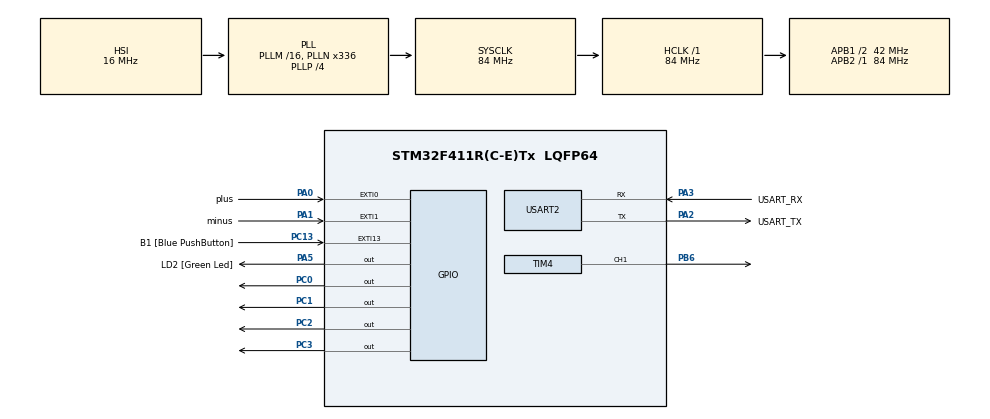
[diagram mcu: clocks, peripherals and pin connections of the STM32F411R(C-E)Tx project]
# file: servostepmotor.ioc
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FREERTOS.Tasks01=motorTask,0,128,StartDefaultTask,Default,NULL,Dynamic,NULL,NULL;myTask02,-3,128,StartTask02,Default,NULL,Dynamic,NULL,NULL;myTask03,-3,128,StartTask03,Default,NULL,Dynamic,NULL,NULL
FREERTOS.configUSE_NEWLIB_REENTRANT=1
Mcu.Family=STM32F4
Mcu.Name=STM32F411R(C-E)Tx
Mcu.Package=LQFP64
NVIC.EXTI0_IRQn=true\:5\:0\:false\:false\:true\:true\:true\:true\:true
NVIC.EXTI1_IRQn=true\:5\:0\:false\:false\:true\:true\:true\:true\:true
NVIC.PriorityGroup=NVIC_PRIORITYGROUP_4
NVIC.TIM3_IRQn=true\:15\:0\:false\:false\:true\:false\:false\:true\:true
NVIC.TIM4_IRQn=true\:5\:0\:false\:false\:true\:true\:true\:true\:true
NVIC.TimeBase=TIM3_IRQn
NVIC.TimeBaseIP=TIM3
PA0-WKUP.GPIO_Label=plus
PA0-WKUP.GPIO_ModeDefaultEXTI=GPIO_MODE_IT_RISING
PA0-WKUP.GPIO_PuPd=GPIO_PULLUP
PA0-WKUP.Signal=GPXTI0
PA1.GPIO_Label=minus
PA1.GPIO_ModeDefaultEXTI=GPIO_MODE_IT_RISING
PA1.GPIO_PuPd=GPIO_PULLUP
PA1.Signal=GPXTI1
PA13.GPIO_Label=TMS
PA13.Mode=Serial_Wire
PA13.Signal=SYS_JTMS-SWDIO
PA14.GPIO_Label=TCK
PA14.Mode=Serial_Wire
PA14.Signal=SYS_JTCK-SWCLK
PA2.GPIO_Label=USART_TX
PA2.Mode=Asynchronous
PA2.Signal=USART2_TX
PA3.GPIO_Label=USART_RX
PA3.Mode=Asynchronous
PA3.Signal=USART2_RX
PA5.GPIO_Label=LD2 [Green Led]
PA5.Signal=GPIO_Output
PB3.GPIO_Label=SWO
PB3.Signal=SYS_JTDO-SWO
PB6.Signal=S_TIM4_CH1
PC0.Signal=GPIO_Output
PC1.Signal=GPIO_Output
PC13-ANTI_TAMP.GPIO_Label=B1 [Blue PushButton]
PC13-ANTI_TAMP.GPIO_ModeDefaultEXTI=GPIO_MODE_IT_FALLING
PC13-ANTI_TAMP.Signal=GPXTI13
PC14-OSC32_IN.Mode=LSE-External-Oscillator
PC14-OSC32_IN.Signal=RCC_OSC32_IN
PC15-OSC32_OUT.Mode=LSE-External-Oscillator
PC15-OSC32_OUT.Signal=RCC_OSC32_OUT
PC2.Signal=GPIO_Output
PC3.Signal=GPIO_Output
PH0\ -\ OSC_IN.Mode=HSE-External-Clock-Source
PH0\ -\ OSC_IN.Signal=RCC_OSC_IN
PH1\ -\ OSC_OUT.Mode=HSE-External-Clock-Source
PH1\ -\ OSC_OUT.Signal=RCC_OSC_OUT
ProjectManager.HeapSize=0x200
ProjectManager.StackSize=0x400
ProjectManager.TargetToolchain=STM32CubeIDE
RCC.48MHZClocksFreq_Value=84000000
RCC.AHBFreq_Value=84000000
RCC.APB1CLKDivider=RCC_HCLK_DIV2
RCC.APB1Freq_Value=42000000
RCC.APB1TimFreq_Value=84000000
RCC.APB2Freq_Value=84000000
RCC.APB2TimFreq_Value=84000000
RCC.CortexFreq_Value=84000000
RCC.FLatency-AdvancedSettings=FLASH_LATENCY_2
RCC.HCLKFreq_Value=84000000
RCC.HSE_VALUE=8000000
RCC.HSI_VALUE=16000000
RCC.PLLN=336
RCC.PLLP=RCC_PLLP_DIV4
RCC.SYSCLKFreq_VALUE=84000000
RCC.SYSCLKSource=RCC_SYSCLKSOURCE_PLLCLK
RCC.VCOOutputFreq_Value=336000000
SH.S_TIM4_CH1.0=TIM4_CH1,PWM Generation1 CH1
TIM4.Channel-PWM\ Generation1\ CH1=TIM_CHANNEL_1
TIM4.Period=20000-1
TIM4.Prescaler=84-1
TIM4.Pulse-PWM\ Generation1\ CH1=0
USART2.VirtualMode=VM_ASYNC
VP_FREERTOS_VS_CMSIS_V1.Mode=CMSIS_V1
VP_SYS_VS_tim3.Mode=TIM3
VP_TIM4_VS_ClockSourceINT.Mode=Internal
board=NUCLEO-F411RE

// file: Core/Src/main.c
/* USER CODE BEGIN Header */
/**
  ******************************************************************************
  * @file           : main.c
  * @brief          : Main program body
  ******************************************************************************
  * @attention
  *
  * Copyright (c) 2025 STMicroelectronics.
  * All rights reserved.
  *
  * This software is licensed under terms that can be found in the LICENSE file
  * in the root directory of this software component.
  * If no LICENSE file comes with this software, it is provided AS-IS.
  *
  ******************************************************************************
  */
/* USER CODE END Header */
#include "main.h"
#include "cmsis_os.h"

TIM_HandleTypeDef htim4;

UART_HandleTypeDef huart2;

osThreadId motorTaskHandle;
osThreadId myTask02Handle;
osThreadId myTask03Handle;
/* USER CODE BEGIN PV */
int key = 0;
typedef enum {
    MOTOR_STOP,
    MOTOR_FORWARD,
    MOTOR_BACKWARD
} MotorCommand_t;

volatile int motorFlag = 1;
volatile MotorCommand_t motorCommand = MOTOR_STOP;
volatile int servoDone = 1;
/* USER CODE END PV */

void SystemClock_Config(void);
static void MX_GPIO_Init(void);
static void MX_USART2_UART_Init(void);
static void MX_TIM4_Init(void);
void StartDefaultTask(void const * argument);
void StartTask02(void const * argument);
void StartTask03(void const * argument);

/* USER CODE BEGIN PFP */
void stepMotor(int step);
/* USER CODE END PFP */

int main(void)
{

  /* MCU Configuration--------------------------------------------------------*/

  /* Reset of all peripherals, Initializes the Flash interface and the Systick. */
  HAL_Init();

  /* Configure the system clock */
  SystemClock_Config();

  /* Initialize all configured peripherals */
  MX_GPIO_Init();
  MX_USART2_UART_Init();
  MX_TIM4_Init();
  /* USER CODE BEGIN 2 */
  if(HAL_TIM_Base_Start_IT(&htim4) != HAL_OK) //인터럽트 시작
  	Error_Handler();

  if(HAL_TIM_PWM_Start(&htim4, TIM_CHANNEL_1) != HAL_OK)
	Error_Handler();
  /* USER CODE END 2 */

  /* Create the thread(s) */
  /* definition and creation of motorTask */
  osThreadDef(motorTask, StartDefaultTask, osPriorityNormal, 0, 128);
  motorTaskHandle = osThreadCreate(osThread(motorTask), NULL);

  /* definition and creation of myTask02 */
  osThreadDef(myTask02, StartTask02, osPriorityIdle, 0, 128);
  myTask02Handle = osThreadCreate(osThread(myTask02), NULL);

  /* definition and creation of myTask03 */
  osThreadDef(myTask03, StartTask03, osPriorityIdle, 0, 128);
  myTask03Handle = osThreadCreate(osThread(myTask03), NULL);

  /* Start scheduler */
  osKernelStart();

  /* We should never get here as control is now taken by the scheduler */

  /* Infinite loop */
  while (1)
  {

  }
}

void SystemClock_Config(void)
{
  RCC_OscInitTypeDef RCC_OscInitStruct = {0};
  RCC_ClkInitTypeDef RCC_ClkInitStruct = {0};

  /** Configure the main internal regulator output voltage
  */
  __HAL_RCC_PWR_CLK_ENABLE();
  __HAL_PWR_VOLTAGESCALING_CONFIG(PWR_REGULATOR_VOLTAGE_SCALE1);

  /** Initializes the RCC Oscillators according to the specified parameters
  * in the RCC_OscInitTypeDef structure.
  */
  RCC_OscInitStruct.OscillatorType = RCC_OSCILLATORTYPE_HSI;
  RCC_OscInitStruct.HSIState = RCC_HSI_ON;
  RCC_OscInitStruct.HSICalibrationValue = RCC_HSICALIBRATION_DEFAULT;
  RCC_OscInitStruct.PLL.PLLState = RCC_PLL_ON;
  RCC_OscInitStruct.PLL.PLLSource = RCC_PLLSOURCE_HSI;
  RCC_OscInitStruct.PLL.PLLM = 16;
  RCC_OscInitStruct.PLL.PLLN = 336;
  RCC_OscInitStruct.PLL.PLLP = RCC_PLLP_DIV4;
  RCC_OscInitStruct.PLL.PLLQ = 4;
  if (HAL_RCC_OscConfig(&RCC_OscInitStruct) != HAL_OK)
  {
    Error_Handler();
  }

  /** Initializes the CPU, AHB and APB buses clocks
  */
  RCC_ClkInitStruct.ClockType = RCC_CLOCKTYPE_HCLK|RCC_CLOCKTYPE_SYSCLK
                              |RCC_CLOCKTYPE_PCLK1|RCC_CLOCKTYPE_PCLK2;
  RCC_ClkInitStruct.SYSCLKSource = RCC_SYSCLKSOURCE_PLLCLK;
  RCC_ClkInitStruct.AHBCLKDivider = RCC_SYSCLK_DIV1;
  RCC_ClkInitStruct.APB1CLKDivider = RCC_HCLK_DIV2;
  RCC_ClkInitStruct.APB2CLKDivider = RCC_HCLK_DIV1;

  if (HAL_RCC_ClockConfig(&RCC_ClkInitStruct, FLASH_LATENCY_2) != HAL_OK)
  {
    Error_Handler();
  }
}

static void MX_TIM4_Init(void)
{

  TIM_ClockConfigTypeDef sClockSourceConfig = {0};
  TIM_MasterConfigTypeDef sMasterConfig = {0};
  TIM_OC_InitTypeDef sConfigOC = {0};

  htim4.Instance = TIM4;
  htim4.Init.Prescaler = 84-1;
  htim4.Init.CounterMode = TIM_COUNTERMODE_UP;
  htim4.Init.Period = 20000-1;
  htim4.Init.ClockDivision = TIM_CLOCKDIVISION_DIV1;
  htim4.Init.AutoReloadPreload = TIM_AUTORELOAD_PRELOAD_DISABLE;
  if (HAL_TIM_Base_Init(&htim4) != HAL_OK)
  {
    Error_Handler();
  }
  sClockSourceConfig.ClockSource = TIM_CLOCKSOURCE_INTERNAL;
  if (HAL_TIM_ConfigClockSource(&htim4, &sClockSourceConfig) != HAL_OK)
  {
    Error_Handler();
  }
  if (HAL_TIM_PWM_Init(&htim4) != HAL_OK)
  {
    Error_Handler();
  }
  sMasterConfig.MasterOutputTrigger = TIM_TRGO_RESET;
  sMasterConfig.MasterSlaveMode = TIM_MASTERSLAVEMODE_DISABLE;
  if (HAL_TIMEx_MasterConfigSynchronization(&htim4, &sMasterConfig) != HAL_OK)
  {
    Error_Handler();
  }
  sConfigOC.OCMode = TIM_OCMODE_PWM1;
  sConfigOC.Pulse = 0;
  sConfigOC.OCPolarity = TIM_OCPOLARITY_HIGH;
  sConfigOC.OCFastMode = TIM_OCFAST_DISABLE;
  if (HAL_TIM_PWM_ConfigChannel(&htim4, &sConfigOC, TIM_CHANNEL_1) != HAL_OK)
  {
    Error_Handler();
  }
  HAL_TIM_MspPostInit(&htim4);

}

static void MX_USART2_UART_Init(void)
{

  huart2.Instance = USART2;
  huart2.Init.BaudRate = 115200;
  huart2.Init.WordLength = UART_WORDLENGTH_8B;
  huart2.Init.StopBits = UART_STOPBITS_1;
  huart2.Init.Parity = UART_PARITY_NONE;
  huart2.Init.Mode = UART_MODE_TX_RX;
  huart2.Init.HwFlowCtl = UART_HWCONTROL_NONE;
  huart2.Init.OverSampling = UART_OVERSAMPLING_16;
  if (HAL_UART_Init(&huart2) != HAL_OK)
  {
    Error_Handler();
  }

}

static void MX_GPIO_Init(void)
{
  GPIO_InitTypeDef GPIO_InitStruct = {0};

  /* GPIO Ports Clock Enable */
  __HAL_RCC_GPIOC_CLK_ENABLE();
  __HAL_RCC_GPIOH_CLK_ENABLE();
  __HAL_RCC_GPIOA_CLK_ENABLE();
  __HAL_RCC_GPIOB_CLK_ENABLE();

  /*Configure GPIO pin Output Level */
  HAL_GPIO_WritePin(GPIOC, GPIO_PIN_0|GPIO_PIN_1|GPIO_PIN_2|GPIO_PIN_3, GPIO_PIN_RESET);

  /*Configure GPIO pin Output Level */
  HAL_GPIO_WritePin(LD2_GPIO_Port, LD2_Pin, GPIO_PIN_RESET);

  /*Configure GPIO pin : B1_Pin */
  GPIO_InitStruct.Pin = B1_Pin;
  GPIO_InitStruct.Mode = GPIO_MODE_IT_FALLING;
  GPIO_InitStruct.Pull = GPIO_NOPULL;
  HAL_GPIO_Init(B1_GPIO_Port, &GPIO_InitStruct);

  /*Configure GPIO pins : PC0 PC1 PC2 PC3 */
  GPIO_InitStruct.Pin = GPIO_PIN_0|GPIO_PIN_1|GPIO_PIN_2|GPIO_PIN_3;
  GPIO_InitStruct.Mode = GPIO_MODE_OUTPUT_PP;
  GPIO_InitStruct.Pull = GPIO_NOPULL;
  GPIO_InitStruct.Speed = GPIO_SPEED_FREQ_LOW;
  HAL_GPIO_Init(GPIOC, &GPIO_InitStruct);

  /*Configure GPIO pins : plus_Pin minus_Pin */
  GPIO_InitStruct.Pin = plus_Pin|minus_Pin;
  GPIO_InitStruct.Mode = GPIO_MODE_IT_RISING;
  GPIO_InitStruct.Pull = GPIO_PULLUP;
  HAL_GPIO_Init(GPIOA, &GPIO_InitStruct);

  /*Configure GPIO pin : LD2_Pin */
  GPIO_InitStruct.Pin = LD2_Pin;
  GPIO_InitStruct.Mode = GPIO_MODE_OUTPUT_PP;
  GPIO_InitStruct.Pull = GPIO_NOPULL;
  GPIO_InitStruct.Speed = GPIO_SPEED_FREQ_LOW;
  HAL_GPIO_Init(LD2_GPIO_Port, &GPIO_InitStruct);

  /* EXTI interrupt init*/
  HAL_NVIC_SetPriority(EXTI0_IRQn, 5, 0);
  HAL_NVIC_EnableIRQ(EXTI0_IRQn);

  HAL_NVIC_SetPriority(EXTI1_IRQn, 5, 0);
  HAL_NVIC_EnableIRQ(EXTI1_IRQn);

}

/* USER CODE BEGIN 4 */
void stepMotor(int step) {
    switch (step) {
        case 0:
            HAL_GPIO_WritePin(GPIOC, GPIO_PIN_0, GPIO_PIN_SET);
            HAL_GPIO_WritePin(GPIOC, GPIO_PIN_1, GPIO_PIN_RESET);
            HAL_GPIO_WritePin(GPIOC, GPIO_PIN_2, GPIO_PIN_RESET);
            HAL_GPIO_WritePin(GPIOC, GPIO_PIN_3, GPIO_PIN_RESET);
            break;
        case 1:
            HAL_GPIO_WritePin(GPIOC, GPIO_PIN_0, GPIO_PIN_SET);
            HAL_GPIO_WritePin(GPIOC, GPIO_PIN_1, GPIO_PIN_SET);
            HAL_GPIO_WritePin(GPIOC, GPIO_PIN_2, GPIO_PIN_RESET);
            HAL_GPIO_WritePin(GPIOC, GPIO_PIN_3, GPIO_PIN_RESET);
            break;
        case 2:
            HAL_GPIO_WritePin(GPIOC, GPIO_PIN_0, GPIO_PIN_RESET);
            HAL_GPIO_WritePin(GPIOC, GPIO_PIN_1, GPIO_PIN_SET);
            HAL_GPIO_WritePin(GPIOC, GPIO_PIN_2, GPIO_PIN_RESET);
            HAL_GPIO_WritePin(GPIOC, GPIO_PIN_3, GPIO_PIN_RESET);
            break;
        case 3:
            HAL_GPIO_WritePin(GPIOC, GPIO_PIN_0, GPIO_PIN_RESET);
            HAL_GPIO_WritePin(GPIOC, GPIO_PIN_1, GPIO_PIN_SET);
            HAL_GPIO_WritePin(GPIOC, GPIO_PIN_2, GPIO_PIN_SET);
            HAL_GPIO_WritePin(GPIOC, GPIO_PIN_3, GPIO_PIN_RESET);
            break;
        case 4:
            HAL_GPIO_WritePin(GPIOC, GPIO_PIN_0, GPIO_PIN_RESET);
            HAL_GPIO_WritePin(GPIOC, GPIO_PIN_1, GPIO_PIN_RESET);
            HAL_GPIO_WritePin(GPIOC, GPIO_PIN_2, GPIO_PIN_SET);
            HAL_GPIO_WritePin(GPIOC, GPIO_PIN_3, GPIO_PIN_RESET);
            break;
        case 5:
            HAL_GPIO_WritePin(GPIOC, GPIO_PIN_0, GPIO_PIN_RESET);
            HAL_GPIO_WritePin(GPIOC, GPIO_PIN_1, GPIO_PIN_RESET);
            HAL_GPIO_WritePin(GPIOC, GPIO_PIN_2, GPIO_PIN_SET);
            HAL_GPIO_WritePin(GPIOC, GPIO_PIN_3, GPIO_PIN_SET);
            break;
        case 6:
            HAL_GPIO_WritePin(GPIOC, GPIO_PIN_0, GPIO_PIN_RESET);
            HAL_GPIO_WritePin(GPIOC, GPIO_PIN_1, GPIO_PIN_RESET);
            HAL_GPIO_WritePin(GPIOC, GPIO_PIN_2, GPIO_PIN_RESET);
            HAL_GPIO_WritePin(GPIOC, GPIO_PIN_3, GPIO_PIN_SET);
            break;
        case 7:
            HAL_GPIO_WritePin(GPIOC, GPIO_PIN_0, GPIO_PIN_SET);
            HAL_GPIO_WritePin(GPIOC, GPIO_PIN_1, GPIO_PIN_RESET);
            HAL_GPIO_WritePin(GPIOC, GPIO_PIN_2, GPIO_PIN_RESET);
            HAL_GPIO_WritePin(GPIOC, GPIO_PIN_3, GPIO_PIN_SET);
            break;
    }
}

void Forward120(void)
{
    const int one_revolution = 4096;
    const int delay_ms = 1;

    for(int i = 0; i < one_revolution / 3; i++)
    {
        // 8-step sequence (0 to 7)
        stepMotor(i % 8);
        osDelay(delay_ms);
    }
}

void Backward120(void)
{
    const int one_revolution = 4096;
    const int delay_ms = 1;

    for(int i = 0; i < one_revolution / 3; i++)
    {
        // 8-step sequence in reverse (7 to 0)
        stepMotor(7 - (i % 8));
        osDelay(delay_ms);
    }
}

void HAL_GPIO_EXTI_Callback(uint16_t GPIO_PIN)
{
	 switch(GPIO_PIN)
	 {
	 	 case plus_Pin:
	 		 motorCommand = MOTOR_FORWARD;
	 		 motorFlag = 1;
	 		 servoDone = 0;
	 		 break;
	 	 case minus_Pin:
	 		 motorCommand = MOTOR_BACKWARD;
	 		 motorFlag = 1;
	 		 servoDone = 0;
	 		 break;
	 }
}
/* USER CODE END 4 */

void StartDefaultTask(void const * argument)
{
  /* USER CODE BEGIN 5 */
  /* Infinite loop */
  for(;;)
  {
	  switch (motorCommand)
	  	{
	  		case MOTOR_FORWARD:
	  			Forward120();      // 정방향 120도 회전 함수 호출
	  			motorCommand = MOTOR_STOP; // 명령 수행 완료 후 대기 상태로 변경
	  			break;

	  		case MOTOR_BACKWARD:
	  			Backward120();     // 역방향 120도 회전 함수 호출
	  			motorCommand = MOTOR_STOP; // 명령 수행 완료 후 대기 상태로 변경
	  			break;

	  		case MOTOR_STOP:
	  			motorFlag = 0;
	  			break;
	  	}
	  osDelay(10);

  }
  /* USER CODE END 5 */
}

void StartTask02(void const * argument)
{
  /* USER CODE BEGIN StartTask02 */
  /* Infinite loop */
  for(;;)
  {
	  if(!motorFlag&&!servoDone)
	  		{
	  			__HAL_TIM_SetCompare(&htim4, TIM_CHANNEL_1, 1000); //-45도
	  			osDelay(1000);
	  //			__HAL_TIM_SetCompare(&htim4, TIM_CHANNEL_1, 1500); //0도
	  //			osDelay(1000);
	  			__HAL_TIM_SetCompare(&htim4, TIM_CHANNEL_1, 2000); //45도
	  			servoDone = 1;
	  		}
	      osDelay(10);
  }
  /* USER CODE END StartTask02 */
}

void StartTask03(void const * argument)
{
  for(;;)
  {
    osDelay(1);
  }
}

void HAL_TIM_PeriodElapsedCallback(TIM_HandleTypeDef *htim)
{
  /* USER CODE BEGIN Callback 0 */

	if(htim->Instance == TIM4)
	{
		HAL_IncTick();

	}
  /* USER CODE END Callback 0 */
  if (htim->Instance == TIM3)
  {
    HAL_IncTick();
  }
}

void Error_Handler(void)
{
  __disable_irq();
  while (1)
  {
  }
}
